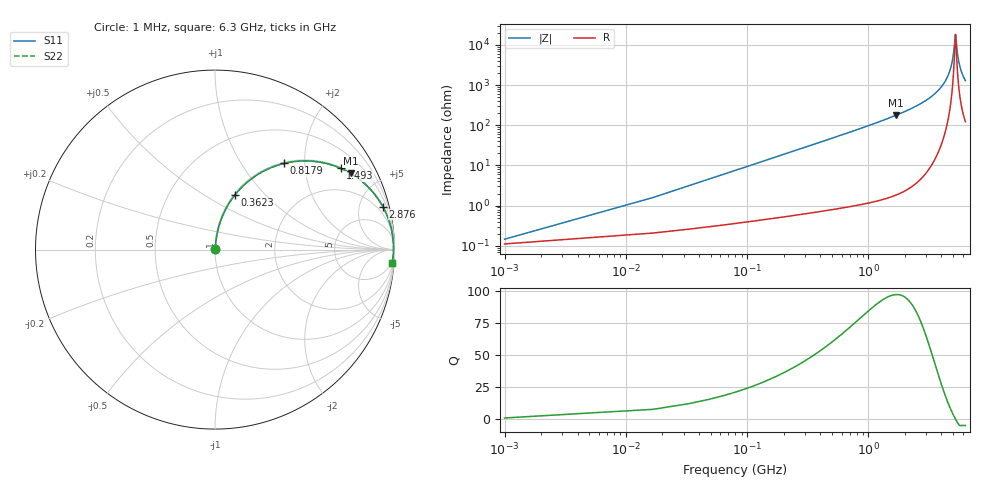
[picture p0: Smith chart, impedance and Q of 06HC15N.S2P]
! Coilcraft 0603HC-15N Chip Inductor
! 03 June 2002
# MHZ S MA R 50
!Freq  MagS11  AngS11  MagS21  AngS21  MagS12  AngS12  MagS22  AngS22
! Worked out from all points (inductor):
!   402 points, 1 MHz to 6.3 GHz, reference 50 ohm
!   read as one part in series: L = 15 nH near 32.42 MHz
!   highest Q = 97.1 at 1.682 GHz (marker M1), where L = 16.7 nH
!   self-resonance near 5.217 GHz
!   S11 on the Smith chart (normalised r, x): 1 MHz: 1.00, +0.00; 362.3 MHz: 1.01, +0.69; 817.9 MHz: 1.02, +1.58; 1.493 GHz: 1.03, +3.07; 2.876 GHz: 1.11, +7.78; 6.3 GHz: 3, -26
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1  0.001456 40.2  0.9989 -0.1  0.9989 -0.1  0.001456 40.2
48.13  0.04528 83.7  0.996 -2.6  0.996 -2.6  0.04528 83.7
95.26  0.08919 82.4  0.9922 -5.1  0.9922 -5.1  0.08919 82.4
205.23  0.1893 77.5  0.9768 -10.9  0.9768 -10.9  0.1893 77.5
362.33  0.3227 70.0  0.9401 -18.8  0.9401 -18.8  0.3227 70.0
817.92  0.6162 51.2  0.7796 -38.0  0.7796 -38.0  0.6162 51.2
1053.57  0.7151 43.7  0.6908 -45.6  0.6908 -45.6  0.7151 43.7
1493.45  0.8336 32.9  0.5437 -56.5  0.5437 -56.5  0.8336 32.9
1681.97  0.8667 29.3  0.49 -60.1  0.49 -60.1  0.8667 29.3
2106.14  0.9179 22.8  0.3871 -66.6  0.3871 -66.6  0.9179 22.8
2875.93  0.9652 14.4  0.248 -74.8  0.248 -74.8  0.9652 14.4
3158.71  0.9747 12.0  0.2075 -77.0  0.2075 -77.0  0.9747 12.0
4211.28  0.992 5.0  0.08734 -82.2  0.08734 -82.2  0.992 5.0
4556.9  0.9939 3.2  0.05524 -82.1  0.05524 -82.1  0.9939 3.2
4808.26  0.9946 1.9  0.03361 -79.7  0.03361 -79.7  0.9946 1.9
5012.49  0.9947 0.9  0.0172 -71.6  0.0172 -71.6  0.9947 0.9
5201.01  0.9946 0.1  0.00562 -15.2  0.00562 -15.2  0.9946 0.1
5263.85  0.9945 -0.2  0.00646 31.2  0.00646 31.2  0.9945 -0.2
5420.95  0.9941 -0.9  0.0163 68.5  0.0163 68.5  0.9941 -0.9
5609.47  0.9935 -1.7  0.02968 76.6  0.02968 76.6  0.9935 -1.7
5907.96  0.9922 -2.9  0.05044 79.7  0.05044 79.7  0.9922 -2.9
6300  0.9899 -4.4  0.07639 80.2  0.07639 80.2  0.9899 -4.4
